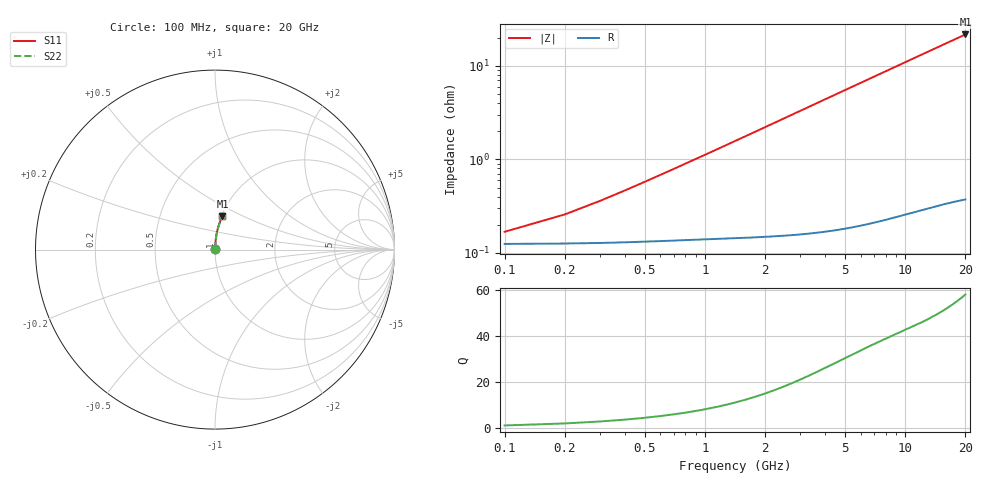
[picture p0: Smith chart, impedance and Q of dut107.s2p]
! Touchstone file exported from HFSS 2024.1.0
!  File:  C:/UserFiles/LocalFiles/RDL_TSV_Batchsim/temp_RDL_bottom_107_1778695462.aedt
!  Generated:  02:07:19 AM May 14, 2026
!  Design:  RDL_bottom
!  Project:  temp_RDL_bottom_107_1778695462
!  Setup:  Setup1
!  Solution:  Sweep
! Variables:
!  dtsv = 10.80580581um
!  hbump = 3um
!  htsv = 93.32um
!  ldown = 114.58um
!  lrdl = 100um
!  p = 40
!  p1 = 54.78um
!  rhole = 1um
!  t = 450um
!  tdown = 3.23um
!  trdl = 3.915915916um
!  wdown = 11.83um
!  wrdl = 20um
# GHz S MA R 50.000000
! Terminal data exported
! Port[1] = RDL1_T1
! Port[2] = RDL1_T2
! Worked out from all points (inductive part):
!   200 points, 100 MHz to 20 GHz, reference 50 ohm
!   read as one part in series: L = 178 pH near 400 MHz
!   highest Q = 57.9 at 20 GHz (marker M1), where L = 172 pH
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0.1  0.001581 37.8  0.9988 -0.1  0.9988 -0.1  0.001581 37.8
! Gamma 0 0 0 0
! Port Impedance 50 0 50 0
0.2  0.00231 56.9  0.9987 -0.1  0.9987 -0.1  0.00231 56.9
0.3  0.003166 66.1  0.9987 -0.2  0.9987 -0.2  0.003166 66.1
0.4  0.004063 71.2  0.9987 -0.3  0.9987 -0.3  0.004063 71.2
0.5  0.004976 74.5  0.9987 -0.4  0.9987 -0.4  0.004976 74.5
0.6  0.005896 76.7  0.9986 -0.4  0.9986 -0.4  0.005896 76.7
0.8  0.007746 79.5  0.9986 -0.6  0.9986 -0.6  0.007746 79.5
1.1  0.01053 82.0  0.9985 -0.8  0.9985 -0.8  0.01053 82.0
1.5  0.01427 83.7  0.9983 -1.1  0.9983 -1.1  0.01427 83.7
1.8  0.01708 84.4  0.9982 -1.3  0.9982 -1.3  0.01708 84.4
2.1  0.0199 85.0  0.998 -1.5  0.998 -1.5  0.0199 85.0
2.7  0.02555 85.6  0.9977 -1.9  0.9977 -1.9  0.02555 85.6
3.5  0.03312 85.9  0.9971 -2.5  0.9971 -2.5  0.03312 85.9
4.2  0.03977 85.9  0.9965 -3.0  0.9965 -3.0  0.03977 85.9
5  0.04739 85.8  0.9957 -3.6  0.9957 -3.6  0.04739 85.8
5.9  0.05599 85.6  0.9947 -4.2  0.9947 -4.2  0.05599 85.6
6.8  0.06462 85.3  0.9936 -4.8  0.9936 -4.8  0.06462 85.3
8.3  0.07905 84.6  0.9916 -5.8  0.9916 -5.8  0.07905 84.6
10.1  0.09639 83.7  0.9889 -7.0  0.9889 -7.0  0.09639 83.7
13.4  0.1281 81.7  0.9835 -9.2  0.9835 -9.2  0.1281 81.7
16.7  0.1594 79.6  0.9774 -11.4  0.9774 -11.4  0.1594 79.6
20  0.1901 77.5  0.9707 -13.5  0.9707 -13.5  0.1901 77.5
